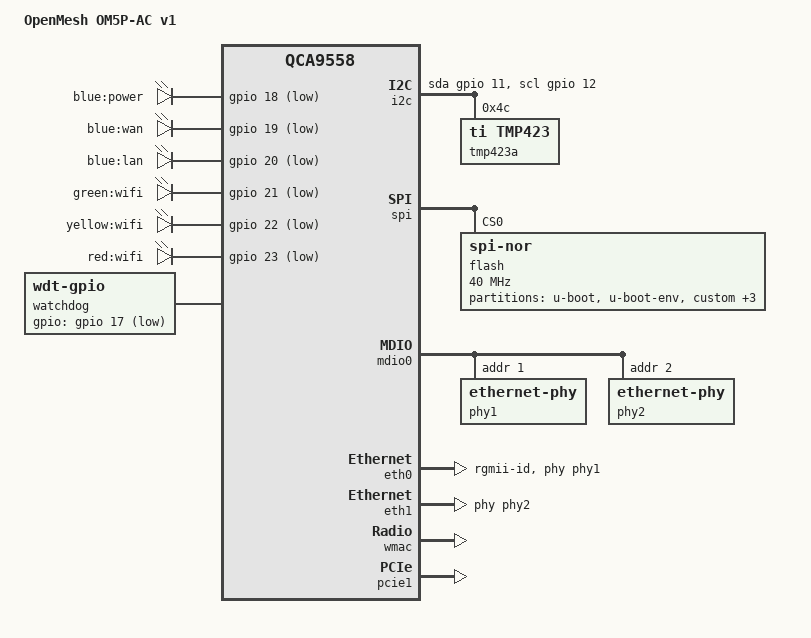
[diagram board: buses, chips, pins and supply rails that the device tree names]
// SPDX-License-Identifier: GPL-2.0-or-later OR MIT

#include "qca955x.dtsi"

#include <dt-bindings/gpio/gpio.h>
#include <dt-bindings/input/input.h>

/ {
	compatible = "openmesh,om5p-ac-v1", "qca,qca9558";
	model = "OpenMesh OM5P-AC v1";

	chosen {
		/delete-property/ bootargs;
	};

	aliases {
		serial0 = &uart;
		led-boot = &led_power_blue;
		led-failsafe = &led_power_blue;
		led-running = &led_power_blue;
		led-upgrade = &led_power_blue;
		label-mac-device = &eth0;
	};

	leds {
		compatible = "gpio-leds";

		led_power_blue: power_blue {
			label = "blue:power";
			gpios = <&gpio 18 GPIO_ACTIVE_LOW>;
			default-state = "on";
		};

		wan_blue {
			label = "blue:wan";
			gpios = <&gpio 19 GPIO_ACTIVE_LOW>;
		};

		lan_blue {
			label = "blue:lan";
			gpios = <&gpio 20 GPIO_ACTIVE_LOW>;
		};

		wifi_green {
			label = "green:wifi";
			gpios = <&gpio 21 GPIO_ACTIVE_LOW>;
			linux,default-trigger = "phy0tpt";
		};

		wifi_yellow {
			label = "yellow:wifi";
			gpios = <&gpio 22 GPIO_ACTIVE_LOW>;
		};

		wifi_red {
			label = "red:wifi";
			gpios = <&gpio 23 GPIO_ACTIVE_LOW>;
		};
	};

	i2c {
		compatible = "i2c-gpio";
		gpios = <&gpio 11 GPIO_ACTIVE_HIGH /* sda */
			 &gpio 12 GPIO_ACTIVE_HIGH /* scl */
			>;
		#address-cells = <1>;
		#size-cells = <0>;

		i2c-gpio,scl-open-drain;
		i2c-gpio,sda-open-drain;

		tmp423a@4c {
			compatible = "ti,tmp423";
			reg = <0x4c>;
		};
	};

	watchdog {
		compatible = "linux,wdt-gpio";
		gpios = <&gpio 17 GPIO_ACTIVE_LOW>;
		hw_algo = "toggle";
		/* hw_margin_ms is actually 300s but driver limits it to 60s */
		hw_margin_ms = <60000>;
		always-running;
	};
};

&spi {
	status = "okay";

	flash@0 {
		compatible = "jedec,spi-nor";
		reg = <0>;
		spi-max-frequency = <40000000>;

		/* partitions are passed via bootloader */
		partitions {
			compatible = "fixed-partitions";
			#address-cells = <1>;
			#size-cells = <1>;

			partition@0 {
				label = "u-boot";
				reg = <0x000000 0x040000>;
				read-only;
			};

			partition@40000 {
				label = "u-boot-env";
				reg = <0x040000 0x010000>;
			};

			partition@50000 {
				label = "custom";
				reg = <0x050000 0x060000>;
				read-only;
			};

			partition@b0000 {
				label = "inactive";
				reg = <0x0b0000 0x7a0000>;
			};

			partition@850000 {
				label = "inactive2";
				reg = <0x850000 0x7a0000>;
			};

			art: partition@ff0000 {
				label = "ART";
				reg = <0xff0000 0x010000>;
				read-only;
			};
		};
	};
};

&mdio0 {
	status = "okay";

	phy-mask = <0x6>;

	phy1: ethernet-phy@1 {
		reg = <1>;
		eee-broken-100tx;
		eee-broken-1000t;
	};

	phy2: ethernet-phy@2 {
		reg = <2>;
		eee-broken-100tx;
		eee-broken-1000t;
		at803x-override-sgmii-link-check;
	};
};

&eth0 {
	status = "okay";

	pll-data = <0x82000101 0x80000101 0x80001313>;

	nvmem-cells = <&macaddr_art_0>;
	nvmem-cell-names = "mac-address";

	phy-mode = "rgmii-id";
	phy-handle = <&phy1>;

	gmac-config {
		device = <&gmac>;
		rgmii-enabled = <1>;
		rxd-delay = <3>;
		rxdv-delay = <3>;
		txd-delay = <0>;
		txen-delay = <0>;
	};
};

&eth1 {
	status = "okay";

	pll-data = <0x03000101 0x80000101 0x80001313>;

	nvmem-cells = <&macaddr_art_6>;
	nvmem-cell-names = "mac-address";

	qca955x-sgmii-fixup;

	phy-handle = <&phy2>;
};

&wmac {
	status = "okay";

	mtd-cal-data = <&art 0x1000>;
	nvmem-cells = <&macaddr_art_0>;
	nvmem-cell-names = "mac-address";
	mac-address-increment = <2>;
};

&pcie1 {
	status = "okay";
};

&art {
	compatible = "nvmem-cells";
	#address-cells = <1>;
	#size-cells = <1>;

	macaddr_art_0: macaddr@0 {
		reg = <0x0 0x6>;
	};

	macaddr_art_6: macaddr@6 {
		reg = <0x6 0x6>;
	};
};
